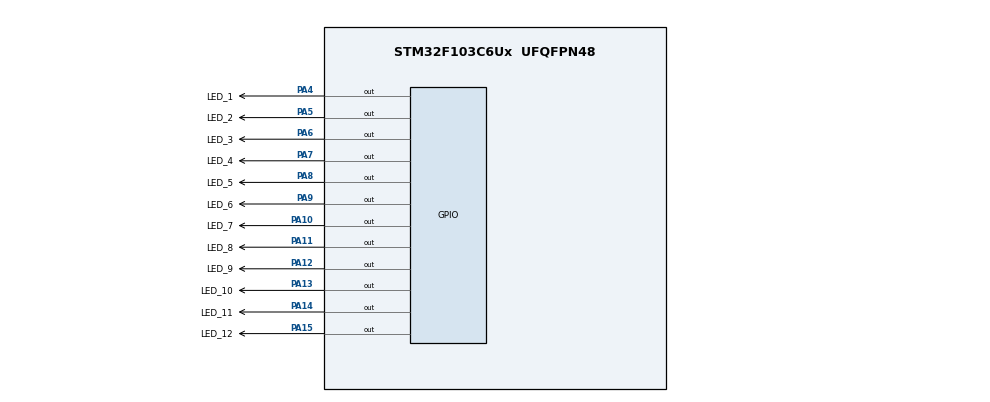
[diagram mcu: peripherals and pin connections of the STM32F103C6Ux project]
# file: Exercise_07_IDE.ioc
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Mcu.Family=STM32F1
Mcu.Name=STM32F103C6Ux
Mcu.Package=UFQFPN48
NVIC.PriorityGroup=NVIC_PRIORITYGROUP_4
PA10.GPIO_Label=LED_7
PA10.PinState=GPIO_PIN_SET
PA10.Signal=GPIO_Output
PA11.GPIO_Label=LED_8
PA11.PinState=GPIO_PIN_SET
PA11.Signal=GPIO_Output
PA12.GPIO_Label=LED_9
PA12.PinState=GPIO_PIN_SET
PA12.Signal=GPIO_Output
PA13.GPIO_Label=LED_10
PA13.PinState=GPIO_PIN_SET
PA13.Signal=GPIO_Output
PA14.GPIO_Label=LED_11
PA14.PinState=GPIO_PIN_SET
PA14.Signal=GPIO_Output
PA15.GPIO_Label=LED_12
PA15.PinState=GPIO_PIN_SET
PA15.Signal=GPIO_Output
PA4.GPIO_Label=LED_1
PA4.PinState=GPIO_PIN_SET
PA4.Signal=GPIO_Output
PA5.GPIO_Label=LED_2
PA5.PinState=GPIO_PIN_SET
PA5.Signal=GPIO_Output
PA6.GPIO_Label=LED_3
PA6.PinState=GPIO_PIN_SET
PA6.Signal=GPIO_Output
PA7.GPIO_Label=LED_4
PA7.PinState=GPIO_PIN_SET
PA7.Signal=GPIO_Output
PA8.GPIO_Label=LED_5
PA8.PinState=GPIO_PIN_SET
PA8.Signal=GPIO_Output
PA9.GPIO_Label=LED_6
PA9.PinState=GPIO_PIN_SET
PA9.Signal=GPIO_Output
ProjectManager.HeapSize=0x200
ProjectManager.StackSize=0x400
ProjectManager.TargetToolchain=STM32CubeIDE
RCC.APB1Freq_Value=8000000
RCC.APB2Freq_Value=8000000
VP_SYS_VS_ND.Mode=No_Debug
board=custom

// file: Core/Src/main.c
/* USER CODE BEGIN Header */
/**
  ******************************************************************************
  * @file           : main.c
  * @brief          : Main program body
  ******************************************************************************
  * @attention
  *
  * Copyright (c) 2026 STMicroelectronics.
  * All rights reserved.
  *
  * This software is licensed under terms that can be found in the LICENSE file
  * in the root directory of this software component.
  * If no LICENSE file comes with this software, it is provided AS-IS.
  *
  ******************************************************************************
  */
/* USER CODE END Header */
#include "main.h"

void SystemClock_Config(void);
static void MX_GPIO_Init(void);
/* USER CODE BEGIN PFP */

void clearAllClock();

/* USER CODE END PFP */

/* USER CODE BEGIN 0 */

void clearAllClock() {
	uint16_t allSegments =
			LED_1_Pin |
			LED_2_Pin |
			LED_3_Pin |
			LED_4_Pin |
			LED_5_Pin |
			LED_6_Pin |
			LED_7_Pin |
			LED_8_Pin |
			LED_9_Pin |
			LED_10_Pin |
			LED_11_Pin |
			LED_12_Pin;

	HAL_GPIO_WritePin(GPIOA, allSegments, GPIO_PIN_SET);
}

/* USER CODE END 0 */

int main(void)
{

  /* USER CODE BEGIN 1 */

	static const uint16_t ledPin[12] = {
			LED_1_Pin,
			LED_2_Pin,
			LED_3_Pin,
			LED_4_Pin,
			LED_5_Pin,
			LED_6_Pin,
			LED_7_Pin,
			LED_8_Pin,
			LED_9_Pin,
			LED_10_Pin,
			LED_11_Pin,
			LED_12_Pin,
	};

	int i;

  /* USER CODE END 1 */

  /* MCU Configuration--------------------------------------------------------*/

  /* Reset of all peripherals, Initializes the Flash interface and the Systick. */
  HAL_Init();

  /* Configure the system clock */
  SystemClock_Config();

  /* Initialize all configured peripherals */
  MX_GPIO_Init();

  /* Infinite loop */
  /* USER CODE BEGIN WHILE */
  while (1)
  {
	  clearAllClock();
	  HAL_Delay(500);

	  for (i = 0; i < 12; i++) {
		  HAL_GPIO_WritePin(GPIOA, ledPin[i], GPIO_PIN_RESET);
		  HAL_Delay(500);
	  }
    /* USER CODE END WHILE */

  }
}

void SystemClock_Config(void)
{
  RCC_OscInitTypeDef RCC_OscInitStruct = {0};
  RCC_ClkInitTypeDef RCC_ClkInitStruct = {0};

  /** Initializes the RCC Oscillators according to the specified parameters
  * in the RCC_OscInitTypeDef structure.
  */
  RCC_OscInitStruct.OscillatorType = RCC_OSCILLATORTYPE_HSI;
  RCC_OscInitStruct.HSIState = RCC_HSI_ON;
  RCC_OscInitStruct.HSICalibrationValue = RCC_HSICALIBRATION_DEFAULT;
  RCC_OscInitStruct.PLL.PLLState = RCC_PLL_NONE;
  if (HAL_RCC_OscConfig(&RCC_OscInitStruct) != HAL_OK)
  {
    Error_Handler();
  }

  /** Initializes the CPU, AHB and APB buses clocks
  */
  RCC_ClkInitStruct.ClockType = RCC_CLOCKTYPE_HCLK|RCC_CLOCKTYPE_SYSCLK
                              |RCC_CLOCKTYPE_PCLK1|RCC_CLOCKTYPE_PCLK2;
  RCC_ClkInitStruct.SYSCLKSource = RCC_SYSCLKSOURCE_HSI;
  RCC_ClkInitStruct.AHBCLKDivider = RCC_SYSCLK_DIV1;
  RCC_ClkInitStruct.APB1CLKDivider = RCC_HCLK_DIV1;
  RCC_ClkInitStruct.APB2CLKDivider = RCC_HCLK_DIV1;

  if (HAL_RCC_ClockConfig(&RCC_ClkInitStruct, FLASH_LATENCY_0) != HAL_OK)
  {
    Error_Handler();
  }
}

static void MX_GPIO_Init(void)
{
  GPIO_InitTypeDef GPIO_InitStruct = {0};

  /* GPIO Ports Clock Enable */
  __HAL_RCC_GPIOA_CLK_ENABLE();

  /*Configure GPIO pin Output Level */
  HAL_GPIO_WritePin(GPIOA, LED_1_Pin|LED_2_Pin|LED_3_Pin|LED_4_Pin
                          |LED_5_Pin|LED_6_Pin|LED_7_Pin|LED_8_Pin
                          |LED_9_Pin|LED_10_Pin|LED_11_Pin|LED_12_Pin, GPIO_PIN_SET);

  /*Configure GPIO pins : LED_1_Pin LED_2_Pin LED_3_Pin LED_4_Pin
                           LED_5_Pin LED_6_Pin LED_7_Pin LED_8_Pin
                           LED_9_Pin LED_10_Pin LED_11_Pin LED_12_Pin */
  GPIO_InitStruct.Pin = LED_1_Pin|LED_2_Pin|LED_3_Pin|LED_4_Pin
                          |LED_5_Pin|LED_6_Pin|LED_7_Pin|LED_8_Pin
                          |LED_9_Pin|LED_10_Pin|LED_11_Pin|LED_12_Pin;
  GPIO_InitStruct.Mode = GPIO_MODE_OUTPUT_PP;
  GPIO_InitStruct.Pull = GPIO_NOPULL;
  GPIO_InitStruct.Speed = GPIO_SPEED_FREQ_LOW;
  HAL_GPIO_Init(GPIOA, &GPIO_InitStruct);

}

void Error_Handler(void)
{
  __disable_irq();
  while (1)
  {
  }
}
